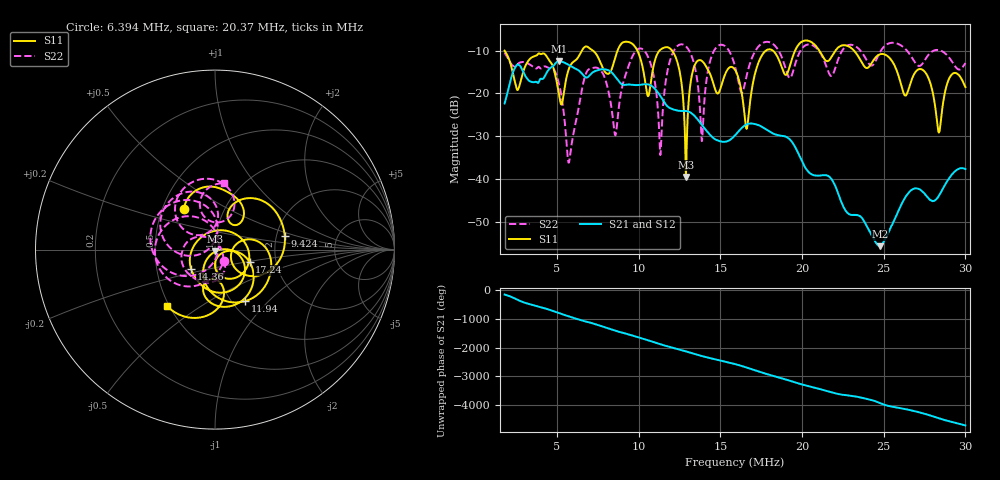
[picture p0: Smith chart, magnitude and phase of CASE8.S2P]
!Agilent Technologies,E5061B,MY49101568,A.02.00
!Date: Wed Mar 01 14:59:58 2023
!Data & Calibration Information:
!Freq	S11:SOLT2(OFF)	S21:SOLT2(OFF)	S12:SOLT2(OFF)	S22:SOLT2(OFF)
# Hz S dB R 50
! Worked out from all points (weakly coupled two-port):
!   1155 points, 1.8 MHz to 30 MHz, reference 50 ohm
!   highest |S21| = -12.49 dB at 5.123 MHz (marker M1); lowest = -55.6 dB at 24.77 MHz (marker M2)
!   lowest |S11| = -39.4 dB at 12.89 MHz (marker M3), VSWR 1.02, Z = 50.3 - j1.04 ohm
!   |S11| at or under -10 dB: start of sweep to 6.531 MHz; 12.05 MHz to 17.79 MHz (5.746 MHz wide, 38.5 % of centre); 23.18 MHz to end of sweep (the widest 3 of 7)
!   |S22| runs from -36.1 to -8.0 dB; largest |S21 - S12| = 0.003
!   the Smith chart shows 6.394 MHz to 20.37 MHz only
!   S11 on the Smith chart (normalised r, x): 6.394 MHz: 0.64, +0.31; 9.424 MHz: 2.22, +0.39; 11.94 MHz: 1.15, -0.74; 14.36 MHz: 0.75, -0.17; 17.24 MHz: 1.46, -0.21; 20.37 MHz: 0.49, -0.37
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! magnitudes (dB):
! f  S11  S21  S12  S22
! 1.8 MHz  -10.0  -22.3  -22.3  -10.5
! 5.123 MHz  -20.1  -12.5  -12.5  -17.7
! 5.734 MHz  -14.3  -13.3  -13.3  -36.1
! 6.394 MHz  -11.0  -14.8  -14.8  -21.9
! 6.516 MHz  -10.1  -15.3  -15.2  -19.3
! 8.569 MHz  -11.6  -16.0  -16.0  -29.8
! 9.424 MHz  -8.0  -17.9  -17.9  -13.2
! 10.57 MHz  -20.6  -17.9  -17.9  -11.4
! 11.21 MHz  -10.4  -19.9  -19.9  -25.2
! 11.94 MHz  -9.6  -23.4  -23.5  -12.1
! 12.89 MHz  -39.4  -24.1  -24.1  -9.0
! 13.87 MHz  -12.4  -27.3  -27.4  -31.1
! 14.36 MHz  -15.3  -29.6  -29.6  -12.7
! 15.9 MHz  -14.5  -29.8  -29.8  -13.7
! 16.61 MHz  -28.2  -27.2  -27.2  -15.9
! 17.24 MHz  -13.8  -27.2  -27.3  -9.5
! 20.37 MHz  -7.7  -38.2  -38.1  -8.6
! 20.62 MHz  -8.1  -38.9  -38.9  -8.7
! 24.77 MHz  -10.9  -55.6  -55.3  -10.4
! 25.31 MHz  -11.5  -52.2  -52.2  -8.3
! 28.36 MHz  -29.1  -43.9  -43.9  -9.9
! 30 MHz  -18.5  -37.6  -37.6  -12.9
